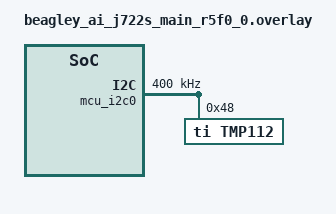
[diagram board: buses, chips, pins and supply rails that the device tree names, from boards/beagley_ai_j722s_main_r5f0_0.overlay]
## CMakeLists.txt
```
# SPDX-License-Identifier: Apache-2.0

cmake_minimum_required(VERSION 3.28.0)
find_package(Zephyr REQUIRED HINTS $ENV{ZEPHYR_BASE})
project(tmp112)

FILE(GLOB app_sources src/*.c)
target_sources(app PRIVATE ${app_sources})
```

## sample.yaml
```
sample:
  name: TMP112 Sensor Sample
tests:
  sample.sensor.tmp112:
    harness: console
    tags: sensors
    depends_on: i2c
    platform_allow:
      - frdm_k64f
    harness_config:
      type: one_line
      regex:
        - "temp is (.*)"
      fixture: fixture_i2c_tmp112
```

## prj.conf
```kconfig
CONFIG_STDOUT_CONSOLE=y
CONFIG_I2C=y
CONFIG_SENSOR=y
CONFIG_ASSERT=y
```

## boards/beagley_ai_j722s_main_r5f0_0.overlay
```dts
/* Copyright (C) 2026 BeagleBoard.org Foundation
 * Copyright (C) 2026 Dhruv Menon <dhruvmenon1104@gmail.com>
 *
 * SPDX-License-Identifier: Apache-2.0
 *
 * Example TMP112 on HAT I2C1 (SoC mcu_i2c0). Change the address to match
 * the part on your HAT.
 */

&mcu_i2c0 {
	pinctrl-0 = <&hat_05_i2c &hat_03_i2c>;
	pinctrl-names = "default";
	clock-frequency = <400000>;
	status = "okay";

	tmp112@48 {
		compatible = "ti,tmp112";
		reg = <0x48>;
	};
};
```

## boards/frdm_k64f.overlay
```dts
/*
 * Copyright (c) 2019, Linaro Ltd.
 *
 * SPDX-License-Identifier: Apache-2.0
 */

&i2c0 {
	tmp112@4a {
		compatible = "ti,tmp112";
		reg = <0x4a>;
	};
};
```

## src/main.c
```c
/*
 * Copyright (c) 2016 Firmwave
 *
 * SPDX-License-Identifier: Apache-2.0
 */

#include <zephyr/kernel.h>
#include <zephyr/device.h>
#include <zephyr/drivers/sensor.h>
#include <zephyr/sys/printk.h>
#include <zephyr/sys/__assert.h>

static void do_main(const struct device *dev)
{
	int ret;
	struct sensor_value temp_value;
	struct sensor_value attr;

	attr.val1 = 150;
	attr.val2 = 0;
	ret = sensor_attr_set(dev, SENSOR_CHAN_AMBIENT_TEMP, SENSOR_ATTR_FULL_SCALE, &attr);
	if (ret) {
		printk("sensor_attr_set failed ret %d\n", ret);
		return;
	}

	attr.val1 = 8;
	attr.val2 = 0;
	ret = sensor_attr_set(dev, SENSOR_CHAN_AMBIENT_TEMP, SENSOR_ATTR_SAMPLING_FREQUENCY, &attr);
	if (ret) {
		printk("sensor_attr_set failed ret %d\n", ret);
		return;
	}

	while (1) {
		ret = sensor_sample_fetch(dev);
		if (ret) {
			printk("sensor_sample_fetch failed ret %d\n", ret);
			return;
		}

		ret = sensor_channel_get(dev, SENSOR_CHAN_AMBIENT_TEMP, &temp_value);
		if (ret) {
			printk("sensor_channel_get failed ret %d\n", ret);
			return;
		}

		printk("temp is %d (%d micro)\n", temp_value.val1, temp_value.val2);

		k_sleep(K_MSEC(1000));
	}
}

int main(void)
{
	const struct device *const dev = DEVICE_DT_GET_ANY(ti_tmp112);

	__ASSERT(dev != NULL, "Failed to get device binding");
	__ASSERT(device_is_ready(dev), "Device %s is not ready", dev->name);
	printk("device is %p, name is %s\n", dev, dev->name);

	do_main(dev);
	return 0;
}
```
